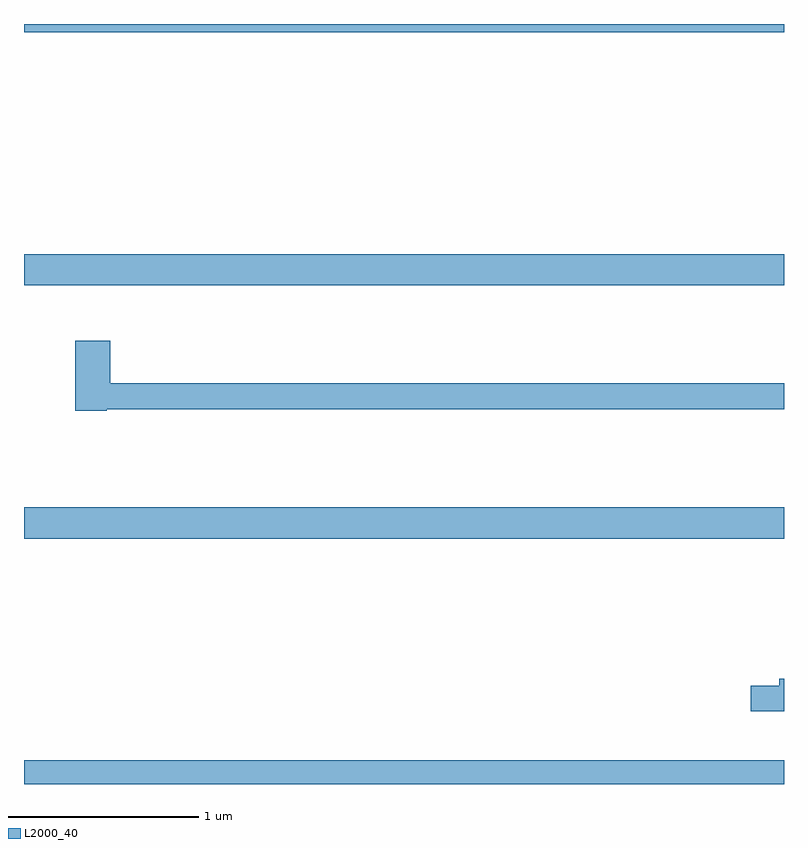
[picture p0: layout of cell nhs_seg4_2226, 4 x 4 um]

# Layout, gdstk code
import gdstk
lib = gdstk.Library(unit=1e-6, precision=1e-09)
def R(c, l, rs):  # rectangles x0, y0, x1, y1
    for r in rs: c.add(gdstk.rectangle(r[:2], r[2:], *l))
def P(c, l, *ps):  # polygons
    for p in ps: c.add(gdstk.Polygon(p, *l))
L2000_40 = (2000, 40)

nhs_seg4_2226 = lib.new_cell('nhs_seg4_2226')
R(nhs_seg4_2226, L2000_40, [(227,756.9,231,757.024), (227,758.192,231,758.356), (227,759.524,231,759.688), (227,760.856,231,760.9)])
P(nhs_seg4_2226, L2000_40, [(227.436,758.872),(231,758.872),(231,759.008),(227.453,759.008),(227.453,759.232),(227.27,759.232),(227.27,758.864),(227.436,758.864)],
  [(231,757.454),(230.975,757.454),(230.975,757.418),(230.826,757.418),(230.826,757.283),(231,757.283)])

lib.write_gds('nhs_seg4_2226.gds')
